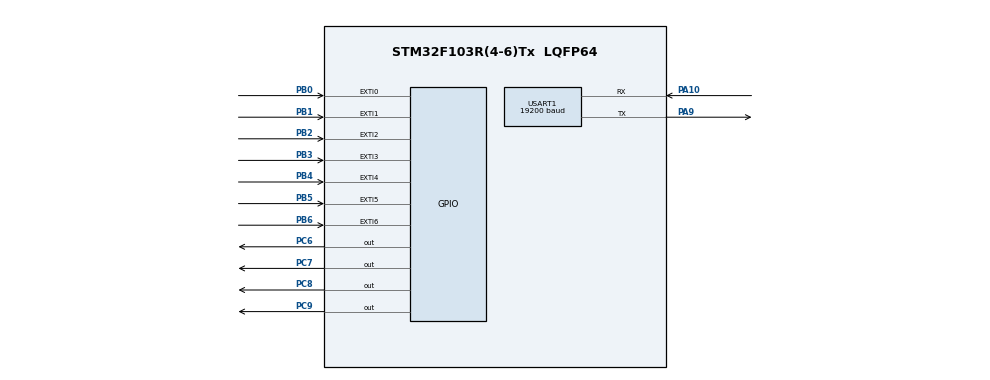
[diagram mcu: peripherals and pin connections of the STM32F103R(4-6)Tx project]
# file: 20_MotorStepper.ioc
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Mcu.Family=STM32F1
Mcu.Name=STM32F103R(4-6)Tx
Mcu.Package=LQFP64
NVIC.EXTI0_IRQn=true\:0\:0\:false\:false\:true\:true\:true\:true
NVIC.EXTI1_IRQn=true\:0\:0\:false\:false\:true\:true\:true\:true
NVIC.EXTI2_IRQn=true\:0\:0\:false\:false\:true\:true\:true\:true
NVIC.EXTI3_IRQn=true\:0\:0\:false\:false\:true\:true\:true\:true
NVIC.EXTI4_IRQn=true\:0\:0\:false\:false\:true\:true\:true\:true
NVIC.EXTI9_5_IRQn=true\:0\:0\:false\:false\:true\:true\:true\:true
NVIC.PriorityGroup=NVIC_PRIORITYGROUP_4
NVIC.TIM3_IRQn=true\:0\:0\:false\:false\:true\:true\:true\:true
PA10.Mode=Asynchronous
PA10.Signal=USART1_RX
PA9.Mode=Asynchronous
PA9.Signal=USART1_TX
PB0.Signal=GPXTI0
PB1.Signal=GPXTI1
PB2.Signal=GPXTI2
PB3.Signal=GPXTI3
PB4.Signal=GPXTI4
PB5.Signal=GPXTI5
PB6.Signal=GPXTI6
PC6.GPIO_ModeDefaultOutputPP=GPIO_MODE_OUTPUT_OD
PC6.GPIO_PuPd=GPIO_NOPULL
PC6.Signal=GPIO_Output
PC7.GPIO_ModeDefaultOutputPP=GPIO_MODE_OUTPUT_OD
PC7.GPIO_PuPd=GPIO_NOPULL
PC7.Signal=GPIO_Output
PC8.GPIO_ModeDefaultOutputPP=GPIO_MODE_OUTPUT_OD
PC8.GPIO_PuPd=GPIO_NOPULL
PC8.Signal=GPIO_Output
PC9.GPIO_ModeDefaultOutputPP=GPIO_MODE_OUTPUT_OD
PC9.GPIO_PuPd=GPIO_NOPULL
PC9.Signal=GPIO_Output
ProjectManager.HeapSize=0x200
ProjectManager.StackSize=0x400
ProjectManager.TargetToolchain=MDK-ARM V5.32
RCC.APB1Freq_Value=8000000
RCC.APB2Freq_Value=8000000
TIM3.Period=999
TIM3.Prescaler=7999
USART1.BaudRate=19200
USART1.VirtualMode=VM_ASYNC
VP_SYS_VS_ND.Mode=No_Debug
VP_TIM3_VS_ClockSourceINT.Mode=Internal
board=custom

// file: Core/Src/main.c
/* USER CODE BEGIN Header */
/**
  ******************************************************************************
  * @file           : main.c
  * @brief          : Main program body
  ******************************************************************************
  * @attention
  *
  * Copyright (c) 2022 STMicroelectronics.
  * All rights reserved.
  *
  * This software is licensed under terms that can be found in the LICENSE file
  * in the root directory of this software component.
  * If no LICENSE file comes with this software, it is provided AS-IS.
  *
  ******************************************************************************
  */

/* USER CODE END Header */

#include "main.h"
#include "tim.h"
#include "usart.h"
#include "gpio.h"
#include <stdio.h>
#include <string.h>
#include <stdlib.h>

/* USER CODE BEGIN Includes */
#include "stdio.h"
/* USER CODE END Includes */

/* USER CODE BEGIN PTD */
#define VALID_NFC_TAG_ID "123456"
/* USER CODE END PTD */

/* USER CODE BEGIN PV */
char rd = 'C';
uint16_t arr = 49;
int StepNo = 1;
uint8_t rf = 0;
/* USER CODE END PV */

void SystemClock_Config(void);
/* USER CODE BEGIN PFP */
void StepOut(uint8_t StepNo);
/* USER CODE END PFP */

int main(void)
{
  /* USER CODE BEGIN 1 */
	char str[4];
	char inputBuffer[20];  // Assuming NFC tag input won't exceed 20 characters
  int bufferIndex = 0;
  /* USER CODE END 1 */

  /* MCU Configuration--------------------------------------------------------*/

  /* Reset of all peripherals, Initializes the Flash interface and the Systick. */
  HAL_Init();

  /* Configure the system clock */
  SystemClock_Config();

  /* Initialize all configured peripherals */
  MX_GPIO_Init();
  MX_TIM3_Init();
  MX_USART1_UART_Init();

  /* USER CODE BEGIN 2 */
	__HAL_TIM_SET_AUTORELOAD(&htim3, arr);
  /* USER CODE END 2 */

	char logMessage[] = "APPLICATION STARTED!\r";
	HAL_UART_Transmit(&huart1, (uint8_t *)logMessage, sizeof(logMessage) - 1, HAL_MAX_DELAY);

  /* Infinite loop */
  while (1)
	{
		// Valid NFC tag
    char receivedChar;

    // Wait for user input from the virtual terminal
    HAL_UART_Receive(&huart1, (uint8_t *) &receivedChar, 1, HAL_MAX_DELAY);

    // Check if the received character is Enter key (Carriage Return)
    if (receivedChar == '\r' || receivedChar == '\n')
    {
        // Null-terminate the input buffer to make it a valid C string
        inputBuffer[bufferIndex] = '\0';

        // Check if the scanned NFC tag is valid
        if (strcmp(inputBuffer, VALID_NFC_TAG_ID) == 0)
        {
					// Valid NFC tag
					char logMessage[] = "APPLICATION LOG ---> USER IS AUTHORIZED\r";
					HAL_UART_Transmit(&huart1, (uint8_t *) logMessage, sizeof(logMessage) - 1, HAL_MAX_DELAY);
        }
        else
        {
					char logMessage[] = "APPLICATION LOG ---> INVALID NFC TAG\r";
					HAL_UART_Transmit(&huart1, (uint8_t *) logMessage, sizeof(logMessage) - 1, HAL_MAX_DELAY);
					char logMessageExit[] = "APPLICATION LOG ---> EXITING...\r";
					HAL_UART_Transmit(&huart1, (uint8_t *) logMessageExit, sizeof(logMessageExit) - 1, HAL_MAX_DELAY);
					exit(EXIT_FAILURE);
        }

        // Clear the input buffer and reset the buffer index for the next iteration
        memset(inputBuffer, 0, sizeof(inputBuffer));
        bufferIndex = 0;
    }
    else
    {
			// Append the received character to the input buffer
			if (bufferIndex < sizeof(inputBuffer) - 1)
			{
					inputBuffer[bufferIndex++] = receivedChar;
      }
    }
	}
}

void SystemClock_Config(void)
{
  RCC_OscInitTypeDef RCC_OscInitStruct = {0};
  RCC_ClkInitTypeDef RCC_ClkInitStruct = {0};

  /** Initializes the RCC Oscillators according to the specified parameters
  * in the RCC_OscInitTypeDef structure.
  */
  RCC_OscInitStruct.OscillatorType = RCC_OSCILLATORTYPE_HSI;
  RCC_OscInitStruct.HSIState = RCC_HSI_ON;
  RCC_OscInitStruct.HSICalibrationValue = RCC_HSICALIBRATION_DEFAULT;
  RCC_OscInitStruct.PLL.PLLState = RCC_PLL_NONE;

  if (HAL_RCC_OscConfig(&RCC_OscInitStruct) != HAL_OK)
  {
		Error_Handler();
  }

  /** Initializes the CPU, AHB and APB buses clocks
  */
  RCC_ClkInitStruct.ClockType = RCC_CLOCKTYPE_HCLK|RCC_CLOCKTYPE_SYSCLK | RCC_CLOCKTYPE_PCLK1|RCC_CLOCKTYPE_PCLK2;
  RCC_ClkInitStruct.SYSCLKSource = RCC_SYSCLKSOURCE_HSI;
  RCC_ClkInitStruct.AHBCLKDivider = RCC_SYSCLK_DIV1;
  RCC_ClkInitStruct.APB1CLKDivider = RCC_HCLK_DIV1;
  RCC_ClkInitStruct.APB2CLKDivider = RCC_HCLK_DIV1;

  if (HAL_RCC_ClockConfig(&RCC_ClkInitStruct, FLASH_LATENCY_0) != HAL_OK)
  {
		Error_Handler();
  }
}

/* USER CODE BEGIN 4 */

void StepOut(uint8_t StepNo)
{
	if (StepNo == 1)
	{
		HAL_GPIO_WritePin(GPIOC, GPIO_PIN_8 | GPIO_PIN_9, GPIO_PIN_RESET);
		HAL_GPIO_WritePin(GPIOC, GPIO_PIN_6 | GPIO_PIN_7, GPIO_PIN_SET);
	}
	else if (StepNo == 2)
	{
		HAL_GPIO_WritePin(GPIOC, GPIO_PIN_6 | GPIO_PIN_9, GPIO_PIN_RESET);
		HAL_GPIO_WritePin(GPIOC, GPIO_PIN_7 | GPIO_PIN_8, GPIO_PIN_SET);
	}
	else if (StepNo == 3)
	{
		HAL_GPIO_WritePin(GPIOC, GPIO_PIN_6 | GPIO_PIN_7, GPIO_PIN_RESET);
		HAL_GPIO_WritePin(GPIOC, GPIO_PIN_8 | GPIO_PIN_9, GPIO_PIN_SET);
	}
	else if (StepNo == 4)
	{
		HAL_GPIO_WritePin(GPIOC, GPIO_PIN_7 | GPIO_PIN_8, GPIO_PIN_RESET);
		HAL_GPIO_WritePin(GPIOC, GPIO_PIN_9 | GPIO_PIN_6, GPIO_PIN_SET);
	}
}

void HAL_TIM_PeriodElapsedCallback (TIM_HandleTypeDef *htim)
{
	if (htim == &htim3)
	{
		if (rd == 'C')
		{
			StepNo++;

			if (StepNo>4)
			{
				StepNo = 1;
			}

			StepOut(StepNo);
		}
		else if (rd == 'A')
		{
			StepNo--;

			if(StepNo<0)
			{
				StepNo=4;
			}

			StepOut(StepNo);
		}
	}
}

void HAL_GPIO_EXTI_Callback(uint16_t GPIO_Pin)
{
	if (GPIO_Pin == GPIO_PIN_0)
	{
		rd = 'C';
		HAL_TIM_Base_Start_IT(&htim3);
		StepOut(StepNo);
		rf = 1;
	}
	else if (GPIO_Pin == GPIO_PIN_1)
	{
		rd = 'A';
		HAL_TIM_Base_Start_IT(&htim3);
		StepOut(StepNo);
		rf = 1;
	}
	else if (GPIO_Pin == GPIO_PIN_2)
	{
		HAL_TIM_Base_Stop(&htim3);
	}
	else if (GPIO_Pin == GPIO_PIN_3)
	{
		if (arr > 49)
		{
			arr -= 50;
		}

		__HAL_TIM_SET_AUTORELOAD(&htim3,arr);
		rf = 1;
	}
	else if (GPIO_Pin == GPIO_PIN_4)
	{
		if (arr < 999)
		{
			arr += 50;
		}

		__HAL_TIM_SET_AUTORELOAD(&htim3,arr);
		rf = 1;
	}
	else if (GPIO_Pin == GPIO_PIN_5)
	{
		if (HAL_GPIO_ReadPin(GPIOB,GPIO_PIN_5) == GPIO_PIN_RESET)
		{
			rd = 'C';
			HAL_TIM_Base_Start_IT(&htim3);
			StepOut(StepNo);
			rf = 1;
		}
		else
		{
			HAL_TIM_Base_Stop(&htim3);
		}
	}
	else if (GPIO_Pin == GPIO_PIN_6)
	{
		if (HAL_GPIO_ReadPin(GPIOB,GPIO_PIN_6) == GPIO_PIN_RESET)
		{
			rd = 'A';
			HAL_TIM_Base_Start_IT(&htim3);
			StepOut(StepNo);
			rf = 1;
		}
		else
		{
			HAL_TIM_Base_Stop(&htim3);
		}
	}
}
/* USER CODE END 4 */

void Error_Handler(void)
{
  __disable_irq();
  while (1)
  {
  }
}
